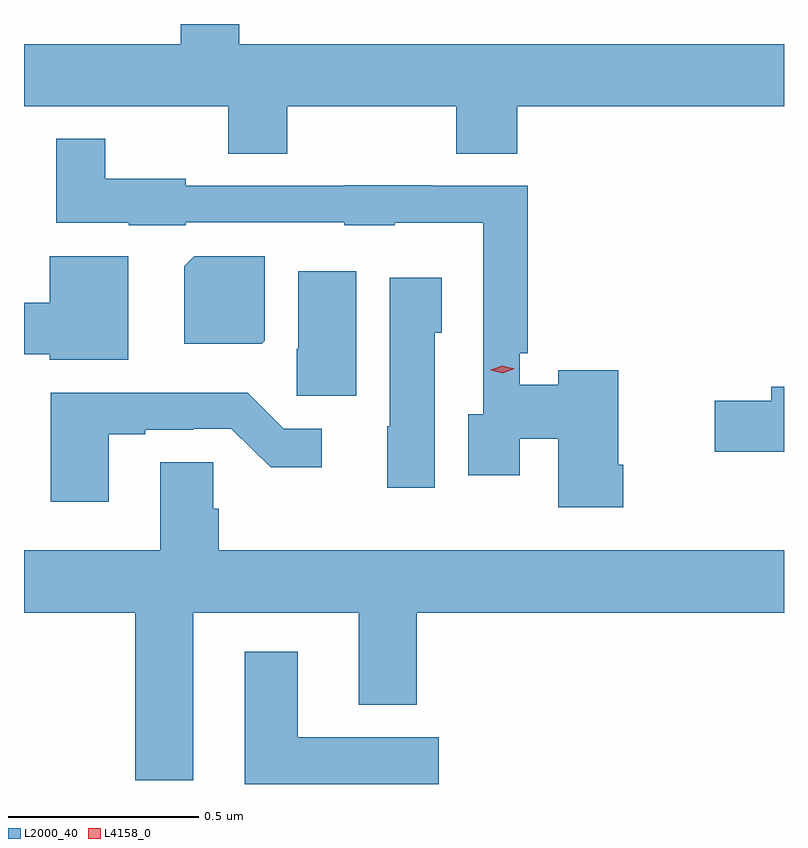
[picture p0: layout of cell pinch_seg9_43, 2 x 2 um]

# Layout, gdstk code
import gdstk
lib = gdstk.Library(unit=1e-6, precision=1e-09)
def P(c, l, *ps):  # polygons
    for p in ps: c.add(gdstk.Polygon(p, *l))
L2000_40 = (2000, 40)
L4158_0 = (4158, 0)

pinch_seg9_43 = lib.new_cell('pinch_seg9_43')
P(pinch_seg9_43, L2000_40, [(995.918,1240.593),(995.765,1240.593),(995.765,1240.54),(995.352,1240.54),(995.352,1240.376),(995.89,1240.376),(995.89,1240.252),(996.045,1240.252),(996.045,1240.376),(996.49,1240.376),(996.49,1240.252),(996.65,1240.252),(996.65,1240.376),(997.352,1240.376),(997.352,1240.54),(995.918,1240.54)],
  [(996.929,1239.433),(996.916,1239.433),(996.916,1239.682),(996.758,1239.682),(996.758,1239.644),(996.657,1239.644),(996.657,1239.727),(996.677,1239.727),(996.677,1240.167),(996.427,1240.167),(996.427,1240.169),(996.195,1240.169),(996.195,1240.167),(995.778,1240.167),(995.778,1240.186),(995.566,1240.186),(995.566,1240.291),(995.437,1240.291),(995.437,1240.07),(995.628,1240.07),(995.628,1240.064),(995.778,1240.064),(995.778,1240.071),(996.195,1240.071),(996.195,1240.064),(996.327,1240.064),(996.327,1240.07),(996.561,1240.07),(996.561,1239.566),(996.521,1239.566),(996.521,1239.405),(996.657,1239.405),(996.657,1239.502),(996.758,1239.502),(996.758,1239.321),(996.929,1239.321)],
  [(995.986,1239.76),(995.986,1239.982),(995.8,1239.982),(995.774,1239.956),(995.774,1239.752),(995.978,1239.752)],
  [(995.626,1239.982),(995.42,1239.982),(995.42,1239.86),(995.352,1239.86),(995.352,1239.724),(995.42,1239.724),(995.42,1239.71),(995.626,1239.71)],
  [(996.226,1239.943),(996.074,1239.943),(996.074,1239.738),(996.07,1239.738),(996.07,1239.615),(996.226,1239.615)],
  [(996.433,1239.78),(996.451,1239.78),(996.451,1239.925),(996.314,1239.925),(996.314,1239.534),(996.308,1239.534),(996.308,1239.372),(996.433,1239.372)],
  [(997.352,1239.638),(997.319,1239.638),(997.319,1239.602),(997.17,1239.602),(997.17,1239.467),(997.352,1239.467)],
  [(995.575,1239.513),(995.671,1239.513),(995.671,1239.525),(995.798,1239.525),(995.798,1239.528),(995.898,1239.528),(996.001,1239.426),(996.136,1239.426),(996.136,1239.528),(996.036,1239.528),(995.941,1239.623),(995.423,1239.623),(995.423,1239.336),(995.575,1239.336)],
  [(995.797,1239.044),(996.233,1239.044),(996.233,1238.801),(996.386,1238.801),(996.386,1239.044),(997.352,1239.044),(997.352,1239.208),(995.864,1239.208),(995.864,1239.318),(995.85,1239.318),(995.85,1239.44),(995.711,1239.44),(995.711,1239.208),(995.352,1239.208),(995.352,1239.044),(995.645,1239.044),(995.645,1238.603),(995.797,1238.603)],
  [(996.443,1238.716),(996.073,1238.716),(996.073,1238.941),(995.933,1238.941),(995.933,1238.593),(996.443,1238.593)])
P(pinch_seg9_43, L4158_0, [(996.612,1239.674),(996.58,1239.682),(996.58,1239.682),(996.58,1239.683),(996.611,1239.694),(996.643,1239.686),(996.643,1239.686),(996.643,1239.686)])

lib.write_gds('pinch_seg9_43.gds')
